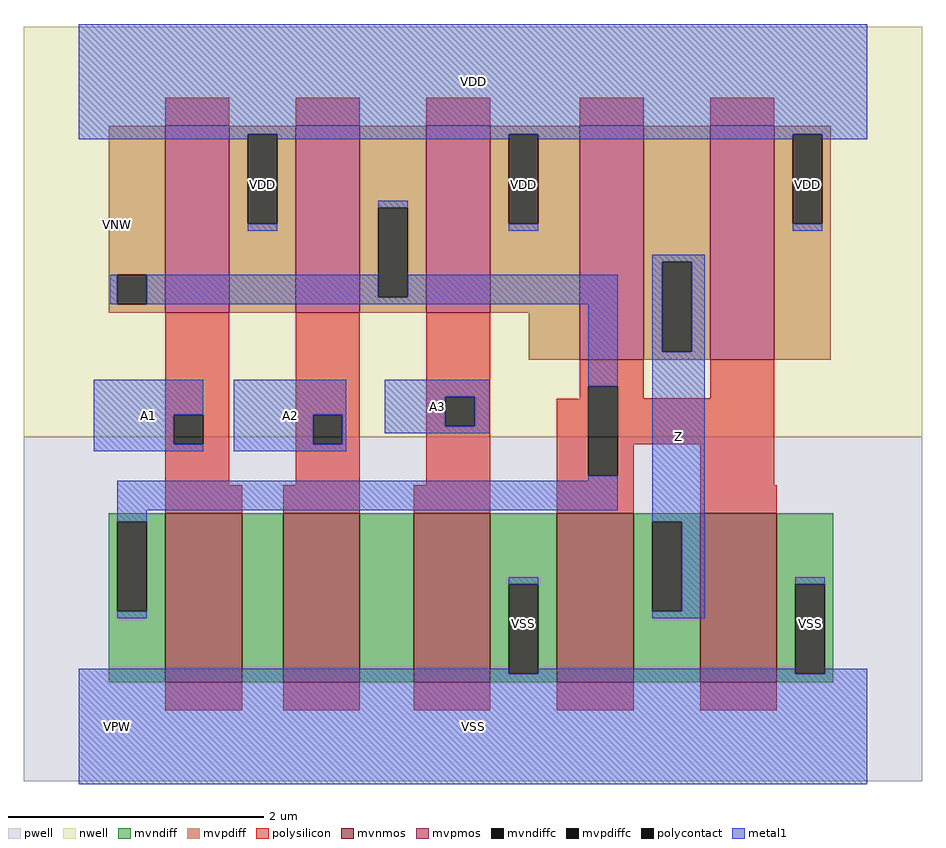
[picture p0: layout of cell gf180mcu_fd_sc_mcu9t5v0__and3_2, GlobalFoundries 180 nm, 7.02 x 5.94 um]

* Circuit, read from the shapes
.subckt gf180mcu_fd_sc_mcu9t5v0__and3_2 A1 A2 A3 Z VDD VNW VPW VSS
XM1 n1 A1 n2 VPW nfet_06v0 w=1.32u l=0.6u
XM2 n3 A2 n1 VPW nfet_06v0 w=1.32u l=0.6u
XM3 VSS A3 n3 VPW nfet_06v0 w=1.32u l=0.6u
XM4 Z n2 VSS VPW nfet_06v0 w=1.32u l=0.6u m=2
XM5 VDD A1 n2 VNW pfet_06v0 w=1.46u l=0.5u
XM6 n2 A2 VDD VNW pfet_06v0 w=1.46u l=0.5u
XM7 VDD A3 n2 VNW pfet_06v0 w=1.46u l=0.5u
XM8 Z n2 VDD VNW pfet_06v0 w=1.83u l=0.5u m=2
.ends

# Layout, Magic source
magic
tech gf180mcuD
magscale 1 10
<< nwell >>
rect -86 453 1318 1094
<< pwell >>
rect -86 -86 1318 453
<< mvnmos >>
rect 135 69 255 333
rect 319 69 439 333
rect 523 69 643 333
rect 747 69 867 333
rect 971 69 1091 333
<< mvpmos >>
rect 135 647 235 939
rect 339 647 439 939
rect 543 647 643 939
rect 783 573 883 939
rect 987 573 1087 939
<< mvndiff >>
rect 47 320 135 333
rect 47 180 60 320
rect 106 180 135 320
rect 47 69 135 180
rect 255 69 319 333
rect 439 69 523 333
rect 643 222 747 333
rect 643 82 672 222
rect 718 82 747 222
rect 643 69 747 82
rect 867 320 971 333
rect 867 180 896 320
rect 942 180 971 320
rect 867 69 971 180
rect 1091 222 1179 333
rect 1091 82 1120 222
rect 1166 82 1179 222
rect 1091 69 1179 82
<< mvpdiff >>
rect 47 706 135 939
rect 47 660 60 706
rect 106 660 135 706
rect 47 647 135 660
rect 235 926 339 939
rect 235 786 264 926
rect 310 786 339 926
rect 235 647 339 786
rect 439 811 543 939
rect 439 671 468 811
rect 514 671 543 811
rect 439 647 543 671
rect 643 926 783 939
rect 643 786 672 926
rect 718 786 783 926
rect 643 647 783 786
rect 703 573 783 647
rect 883 726 987 939
rect 883 586 912 726
rect 958 586 987 726
rect 883 573 987 586
rect 1087 926 1175 939
rect 1087 786 1116 926
rect 1162 786 1175 926
rect 1087 573 1175 786
<< mvndiffc >>
rect 60 180 106 320
rect 672 82 718 222
rect 896 180 942 320
rect 1120 82 1166 222
<< mvpdiffc >>
rect 60 660 106 706
rect 264 786 310 926
rect 468 671 514 811
rect 672 786 718 926
rect 912 586 958 726
rect 1116 786 1162 926
<< polysilicon >>
rect 135 939 235 983
rect 339 939 439 983
rect 543 939 643 983
rect 783 939 883 983
rect 987 939 1087 983
rect 135 487 235 647
rect 135 441 148 487
rect 194 441 235 487
rect 135 377 235 441
rect 339 487 439 647
rect 339 441 366 487
rect 412 441 439 487
rect 339 377 439 441
rect 543 515 643 647
rect 543 469 573 515
rect 619 469 643 515
rect 783 532 883 573
rect 783 512 796 532
rect 543 377 643 469
rect 135 333 255 377
rect 319 333 439 377
rect 523 333 643 377
rect 747 392 796 512
rect 842 513 883 532
rect 987 513 1087 573
rect 842 441 1087 513
rect 842 392 867 441
rect 747 333 867 392
rect 971 377 1087 441
rect 971 333 1091 377
rect 135 25 255 69
rect 319 25 439 69
rect 523 25 643 69
rect 747 25 867 69
rect 971 25 1091 69
<< polycontact >>
rect 148 441 194 487
rect 366 441 412 487
rect 573 469 619 515
rect 796 392 842 532
<< metal1 >>
rect 0 926 1232 1098
rect 0 918 264 926
rect 310 918 672 926
rect 264 775 310 786
rect 468 811 514 822
rect 49 660 60 706
rect 106 671 468 706
rect 718 918 1116 926
rect 672 775 718 786
rect 1162 918 1232 926
rect 1116 775 1162 786
rect 896 726 978 737
rect 514 671 842 706
rect 106 660 842 671
rect 23 487 194 542
rect 23 441 148 487
rect 23 430 194 441
rect 242 487 418 542
rect 242 441 366 487
rect 412 441 418 487
rect 478 515 642 542
rect 478 469 573 515
rect 619 469 642 515
rect 478 458 642 469
rect 796 532 842 660
rect 242 430 418 441
rect 796 384 842 392
rect 60 338 842 384
rect 896 586 912 726
rect 958 586 978 726
rect 60 320 106 338
rect 896 320 978 586
rect 60 169 106 180
rect 672 222 718 233
rect 0 82 672 90
rect 942 180 978 320
rect 896 169 978 180
rect 1120 222 1166 233
rect 718 82 1120 90
rect 1166 82 1232 90
rect 0 -90 1232 82
<< labels >>
flabel metal1 s 23 430 194 542 0 FreeSans 200 0 0 0 A1
port 1 nsew default input
flabel metal1 s 242 430 418 542 0 FreeSans 200 0 0 0 A2
port 2 nsew default input
flabel metal1 s 478 458 642 542 0 FreeSans 200 0 0 0 A3
port 3 nsew default input
flabel metal1 s 0 918 1232 1098 0 FreeSans 200 0 0 0 VDD
port 5 nsew power bidirectional abutment
flabel metal1 s 1120 90 1166 233 0 FreeSans 200 0 0 0 VSS
port 8 nsew ground bidirectional abutment
flabel metal1 s 896 169 978 737 0 FreeSans 200 0 0 0 Z
port 4 nsew default output
flabel nwell s 10 734 110 834 0 FreeSans 400 0 0 0 VNW
port 6 nsew power bidirectional
flabel pwell s 10 -50 110 50 0 FreeSans 400 0 0 0 VPW
port 7 nsew ground bidirectional
rlabel metal1 s 1116 775 1162 918 1 VDD
port 5 nsew power bidirectional abutment
rlabel metal1 s 672 775 718 918 1 VDD
port 5 nsew power bidirectional abutment
rlabel metal1 s 264 775 310 918 1 VDD
port 5 nsew power bidirectional abutment
rlabel metal1 s 672 90 718 233 1 VSS
port 8 nsew ground bidirectional abutment
rlabel metal1 s 0 -90 1232 90 1 VSS
port 8 nsew ground bidirectional abutment
<< properties >>
string FIXED_BBOX 0 0 1232 1008
string GDS_END 1144468
string GDS_FILE $PDKPATH/libs.ref/gf180mcu_fd_sc_mcu9t5v0/gds/gf180mcu_fd_sc_mcu9t5v0.gds
string GDS_START 1140418
string LEFclass core
string LEFsite GF018hv5v_green_sc9
string LEFsymmetry X Y
<< end >>
